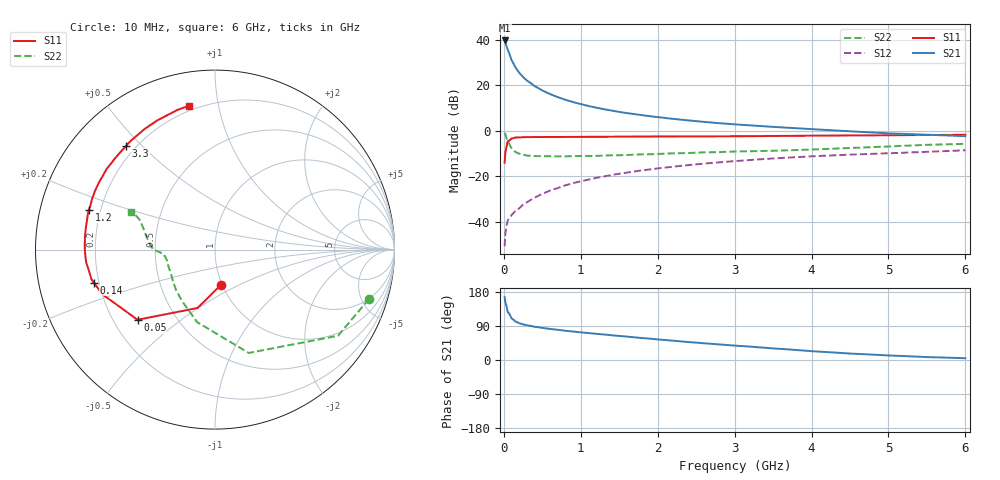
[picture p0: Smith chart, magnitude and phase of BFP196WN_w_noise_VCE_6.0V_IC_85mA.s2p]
! (c) 2017  Infineon Technologies AG, Munich
! Infineon Technologies  Discrete & RF Semiconductors
! BFP196WN
! VCE =  6.0 V,  IC =  85 mA
! Common Emitter S-Parameters:  Jan 2017
# GHz  S  MA  R  50
!  f  S11  S21  S12  S22
! GHz  MAG  ANG  MAG  ANG  MAG  ANG  MAG  ANG
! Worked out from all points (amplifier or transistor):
!   77 points, 10 MHz to 6 GHz, reference 50 ohm
!   highest |S21| = 39.7 dB at 10 MHz (marker M1)
!   |S21| within 3 dB of that: start of sweep to 39.38 MHz
!   unconditionally stable (mu >= 1): 499.8 MHz to 2.617 GHz
!   at 130 MHz: K = 0.66, MSG = 32.6 dB, |S12| = -36.0 dB
!   at 2.2 GHz: K = 1.02, MAG = 9.7 dB, |S12| = -15.8 dB
!   at 6 GHz: K = 0.91, MSG = 3.1 dB, |S12| = -8.6 dB
!   lowest NFmin = 1.64 dB at 450 MHz
!   S11 on the Smith chart (normalised r, x): 10 MHz: 0.99, -0.40; 50 MHz: 0.30, -0.36; 140 MHz: 0.18, -0.13; 1.2 GHz: 0.16, +0.15; 3.3 GHz: 0.16, +0.45; 6 GHz: 0.17, +0.82
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0.01  0.1991 -80.3  96.36 165.9  0.0029 77.4  0.9018 -17.7
0.02  0.3394 -106.6  86.94 152.2  0.0056 75.2  0.8365 -35.0
0.05  0.5822 -137.8  60.54 126.8  0.0106 53.9  0.6059 -71.9
0.1  0.674 -158.2  35.47 109.5  0.0139 52.3  0.4163 -103.8
0.14  0.7 -164.8  26.82 103.8  0.0165 54.9  0.3537 -117.8
0.15  0.7079 -166.4  24.71 101.8  0.0172 55.4  0.3421 -122.0
0.2  0.7131 -171.1  18.77 97.2  0.0197 59.9  0.3136 -133.6
0.25  0.7212 -174.3  15.12 94.0  0.0237 61.7  0.2972 -140.9
0.3  0.723 -177.0  12.65 91.6  0.0267 65.6  0.2855 -147.1
0.4  0.7257 179.4  9.57 87.7  0.0337 67.7  0.2774 -154.3
0.5  0.7267 176.4  7.663 84.7  0.0409 69.9  0.2759 -159.3
0.7  0.7287 171.8  5.483 79.7  0.0548 71.4  0.273 -165.6
0.9  0.7308 167.6  4.261 75.1  0.0704 71.0  0.2763 -168.8
1.1  0.7353 164.2  3.5 71.1  0.0843 70.7  0.2788 -171.6
1.2  0.7368 162.4  3.213 69.1  0.0917 70.1  0.2797 -172.4
1.6  0.7418 155.9  2.44 61.7  0.1201 67.9  0.2921 -175.1
2.1  0.7475 148.0  1.904 52.7  0.1551 64.3  0.3131 -177.7
3.1  0.7574 133.3  1.346 36.7  0.2207 55.7  0.3518 177.9
3.3  0.7611 130.5  1.279 33.8  0.2331 53.9  0.3571 176.6
4.1  0.7792 119.0  1.06 22.1  0.2781 47.0  0.3917 168.6
5.1  0.7972 108.3  0.863 11.2  0.3243 39.3  0.4583 158.0
6  0.8143 100.4  0.759 4.7  0.3713 33.2  0.5151 155.7
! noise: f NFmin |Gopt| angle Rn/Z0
0.45  1.64  0.59  -175  0.05
0.9  1.77  0.6  -168  0.07
1.9  2.75  0.7  -146  0.22
2.4  3.53  0.72  -138  0.37
